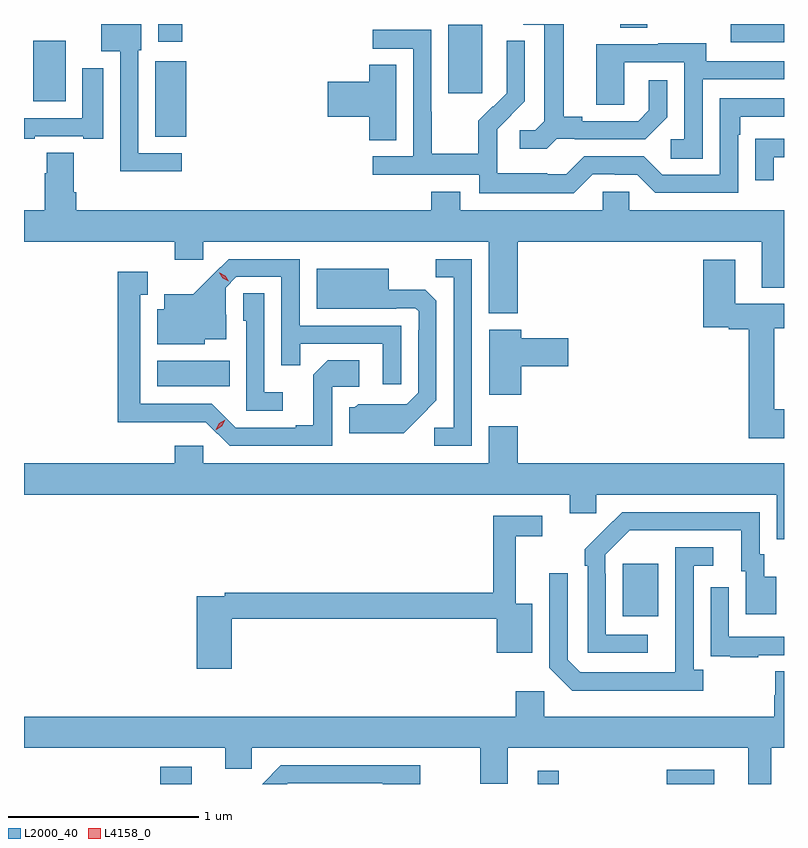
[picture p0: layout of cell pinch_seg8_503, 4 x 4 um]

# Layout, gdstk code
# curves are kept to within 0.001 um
import gdstk
lib = gdstk.Library(unit=1e-6, precision=1e-09)
def R(c, l, rs):  # rectangles x0, y0, x1, y1
    for r in rs: c.add(gdstk.rectangle(r[:2], r[2:], *l))
def P(c, l, *ps):  # polygons
    for p in ps: c.add(gdstk.Polygon(p, *l))
L2000_40 = (2000, 40)
L4158_0 = (4158, 0)

pinch_seg8_503 = lib.new_cell('pinch_seg8_503')
R(pinch_seg8_503, L2000_40, [(202.214,1113.645,202.378,1113.736), (204.2,1113.645,204.31,1113.715), (204.878,1113.645,205.129,1113.721), (204.647,1114.529,204.835,1114.804), (202.196,1115.738,202.58,1115.872), (202.187,1117.051,202.349,1117.45), (201.545,1117.238,201.715,1117.558), (203.729,1117.281,203.908,1117.642), (202.202,1117.551,202.328,1117.645), (204.635,1117.624,204.775,1117.645), (201.617,1117.643,201.757,1117.645)])
P(pinch_seg8_503, L2000_40, [(202.327,1116.966),(202.098,1116.966),(202.098,1117.506),(202.114,1117.506),(202.114,1117.645),(201.902,1117.645),(201.902,1117.502),(202.002,1117.502),(202.002,1116.869),(202.327,1116.869)],
  [(205.496,1117.644),(205.357,1117.644),(205.357,1117.645),(204.993,1117.645),(204.993,1117.644),(205.217,1117.644),(205.217,1117.548),(205.496,1117.548)],
  [(204.3,1117.041),(204.394,1117.041),(204.394,1117.038),(204.766,1117.038),(204.882,1117.154),(204.882,1117.348),(204.785,1117.348),(204.785,1117.191),(204.728,1117.134),(204.433,1117.134),(204.433,1117.157),(204.337,1117.157),(204.337,1117.645),(204.123,1117.645),(204.123,1117.641),(204.233,1117.641),(204.233,1117.133),(204.186,1117.086),(204.105,1117.086),(204.105,1116.989),(204.248,1116.989)],
  [(204.489,1116.855),(204.605,1116.855),(204.605,1116.852),(204.723,1116.852),(204.819,1116.756),(205.254,1116.756),(205.254,1117.061),(205.267,1117.061),(205.267,1117.158),(205.496,1117.158),(205.496,1117.254),(205.158,1117.254),(205.158,1116.852),(204.855,1116.852),(204.759,1116.948),(204.444,1116.948),(204.351,1116.855),(204.251,1116.855),(204.251,1116.859),(203.988,1116.859),(203.988,1116.993),(203.986,1116.993),(203.986,1117.09),(204.132,1117.238),(204.132,1117.556),(204.036,1117.556),(204.036,1117.402),(204.038,1117.402),(204.038,1117.28),(203.967,1117.209),(203.964,1117.212),(203.887,1117.135),(203.887,1116.961),(203.643,1116.961),(203.643,1117.184),(203.64,1117.184),(203.64,1117.614),(203.331,1117.614),(203.331,1117.515),(203.544,1117.515),(203.544,1116.948),(203.331,1116.948),(203.331,1116.852),(203.892,1116.852),(203.892,1116.755),(204.389,1116.755)],
  [(205.068,1117.353),(205.496,1117.353),(205.496,1117.449),(205.087,1117.449),(205.087,1117.543),(204.833,1117.543),(204.833,1117.539),(204.509,1117.539),(204.509,1117.219),(204.654,1117.219),(204.654,1117.443),(204.972,1117.443),(204.972,1117.038),(204.9,1117.038),(204.9,1116.937),(205.068,1116.937)],
  [(203.455,1117.43),(203.312,1117.43),(203.312,1117.34),(203.094,1117.34),(203.094,1117.157),(203.312,1117.157),(203.312,1117.033),(203.455,1117.033)],
  [(201.553,1117.053),(201.809,1117.053),(201.809,1117.041),(201.913,1117.041),(201.913,1117.411),(201.803,1117.411),(201.803,1117.149),(201.496,1117.149),(201.496,1117.041),(201.553,1117.041)],
  [(205.441,1116.945),(205.496,1116.945),(205.496,1117.041),(205.447,1117.041),(205.447,1117.04),(205.345,1117.04),(205.345,1116.822),(205.441,1116.822)],
  [(204.095,1116.5),(205.379,1116.5),(205.379,1116.257),(205.496,1116.257),(205.496,1116.664),(204.681,1116.664),(204.681,1116.762),(204.543,1116.762),(204.543,1116.664),(203.791,1116.664),(203.791,1116.763),(203.639,1116.763),(203.639,1116.664),(201.77,1116.664),(201.77,1116.76),(201.757,1116.76),(201.757,1116.968),(201.617,1116.968),(201.617,1116.86),(201.605,1116.86),(201.605,1116.664),(201.496,1116.664),(201.496,1116.5),(202.289,1116.5),(202.289,1116.405),(202.44,1116.405),(202.44,1116.5),(203.942,1116.5),(203.942,1116.122),(204.095,1116.122)],
  [(203.853,1116.408),(203.662,1116.408),(203.662,1116.313),(203.757,1116.313),(203.757,1115.52),(203.655,1115.52),(203.655,1115.424),(203.853,1115.424)],
  [(203.481,1116.057),(202.947,1116.057),(202.947,1116.408),(202.574,1116.408),(202.387,1116.223),(202.235,1116.223),(202.235,1116.145),(202.196,1116.145),(202.196,1115.96),(202.446,1115.96),(202.446,1115.987),(202.561,1115.987),(202.561,1116.116),(202.557,1116.116),(202.557,1116.258),(202.614,1116.315),(202.851,1116.315),(202.851,1115.848),(202.949,1115.848),(202.949,1115.961),(203.385,1115.961),(203.385,1115.748),(203.481,1115.748)],
  [(205.496,1115.617),(205.444,1115.617),(205.444,1116.044),(205.496,1116.044),(205.496,1116.172),(205.24,1116.172),(205.24,1116.403),(205.07,1116.403),(205.07,1116.05),(205.206,1116.05),(205.206,1116.038),(205.31,1116.038),(205.31,1115.465),(205.496,1115.465)],
  [(203.575,1115.573),(203.667,1115.666),(203.667,1116.188),(203.608,1116.247),(203.416,1116.247),(203.416,1116.358),(203.036,1116.358),(203.036,1116.146),(203.456,1116.146),(203.456,1116.15),(203.556,1116.15),(203.574,1116.132),(203.574,1116.032),(203.571,1116.032),(203.571,1115.703),(203.511,1115.643),(203.254,1115.644),(203.238,1115.628),(203.207,1115.628),(203.207,1115.492),(203.495,1115.492)],
  [(203.118,1115.736),(203.26,1115.736),(203.26,1115.876),(203.095,1115.876),(203.019,1115.8),(203.019,1115.533),(202.925,1115.533),(202.925,1115.52),(202.611,1115.52),(202.485,1115.646),(202.108,1115.646),(202.108,1116.219),(202.147,1116.219),(202.147,1116.34),(201.99,1116.34),(201.99,1115.549),(202.452,1115.55),(202.578,1115.424),(203.118,1115.424)],
  [(202.858,1115.707),(202.761,1115.707),(202.761,1116.227),(202.65,1116.227),(202.65,1116.084),(202.665,1116.084),(202.665,1115.61),(202.858,1115.61)],
  [(204.112,1115.843),(204.361,1115.843),(204.361,1115.99),(204.112,1115.99),(204.112,1116.037),(203.945,1116.037),(203.945,1115.694),(204.112,1115.694)],
  [(205.496,1115.332),(204.095,1115.332),(204.095,1115.527),(203.942,1115.527),(203.942,1115.332),(202.44,1115.332),(202.44,1115.425),(202.289,1115.425),(202.289,1115.332),(201.496,1115.332),(201.496,1115.168),(204.368,1115.168),(204.368,1115.07),(204.507,1115.07),(204.507,1115.168),(205.457,1115.168),(205.457,1114.933),(205.496,1114.933)],
  [(204.778,1114.431),(204.558,1114.431),(204.558,1114.751),(204.555,1114.751),(204.555,1114.851),(204.684,1114.98),(205.271,1114.98),(205.271,1114.764),(205.295,1114.764),(205.295,1114.539),(205.456,1114.539),(205.456,1114.735),(205.393,1114.735),(205.393,1114.854),(205.368,1114.854),(205.368,1115.076),(204.644,1115.076),(204.447,1114.881),(204.447,1114.793),(204.462,1114.793),(204.462,1114.335),(204.778,1114.335)],
  [(202.589,1114.516),(203.985,1114.516),(203.985,1114.337),(204.172,1114.337),(204.172,1114.594),(204.083,1114.594),(204.083,1114.95),(204.223,1114.95),(204.223,1115.058),(203.965,1115.058),(203.965,1114.652),(202.552,1114.652),(202.552,1114.632),(202.406,1114.632),(202.406,1114.251),(202.589,1114.251)],
  [(205.072,1114.246),(205.02,1114.246),(205.02,1114.794),(205.123,1114.794),(205.123,1114.89),(204.924,1114.89),(204.923,1114.233),(204.423,1114.233),(204.357,1114.299),(204.357,1114.753),(204.261,1114.753),(204.261,1114.257),(204.382,1114.136),(205.072,1114.136)],
  [(205.361,1114.323),(205.496,1114.323),(205.496,1114.419),(205.206,1114.419),(205.206,1114.681),(205.11,1114.681),(205.11,1114.426),(205.111,1114.426),(205.111,1114.317),(205.213,1114.317),(205.213,1114.311),(205.361,1114.311)],
  [(205.429,1113.836),(205.496,1113.836),(205.496,1114.238),(205.45,1114.238),(205.45,1114.113),(205.445,1114.113),(205.445,1114),(204.234,1114),(204.234,1114.132),(204.083,1114.132),(204.083,1114),(201.496,1114),(201.496,1113.836),(202.556,1113.836),(202.556,1113.726),(202.695,1113.726),(202.695,1113.836),(203.896,1113.836),(203.896,1113.646),(204.043,1113.646),(204.043,1113.836),(205.307,1113.836),(205.307,1113.645),(205.429,1113.645)],
  [(202.884,1113.648),(203.384,1113.648),(203.384,1113.645),(203.582,1113.645),(203.582,1113.744),(202.848,1113.744),(202.749,1113.645),(202.881,1113.645)])
P(pinch_seg8_503, L4158_0, [(202.573,1116.291),(202.542,1116.306),(202.524,1116.335),(202.524,1116.335),(202.525,1116.335),(202.556,1116.32),(202.574,1116.291),(202.574,1116.291)],
  [(202.506,1115.51),(202.506,1115.51),(202.524,1115.543),(202.556,1115.561),(202.556,1115.561),(202.556,1115.561),(202.538,1115.529),(202.507,1115.51)])

lib.write_gds('pinch_seg8_503.gds')
